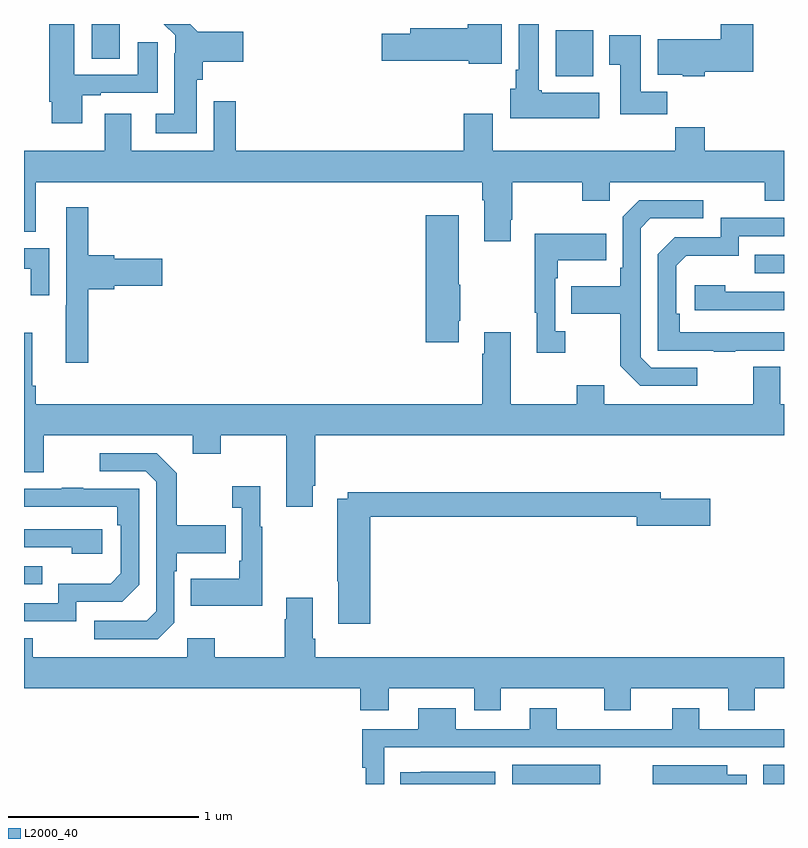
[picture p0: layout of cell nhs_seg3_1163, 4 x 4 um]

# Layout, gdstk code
import gdstk
lib = gdstk.Library(unit=1e-6, precision=1e-09)
def R(c, l, rs):  # rectangles x0, y0, x1, y1
    for r in rs: c.add(gdstk.rectangle(r[:2], r[2:], *l))
def P(c, l, *ps):  # polygons
    for p in ps: c.add(gdstk.Polygon(p, *l))
L2000_40 = (2000, 40)

nhs_seg3_1163 = lib.new_cell('nhs_seg3_1163')
R(nhs_seg3_1163, L2000_40, [(173.57,712.4,174.034,712.501), (174.89,712.4,175,712.501), (171,713.451,171.095,713.547), (174.847,715.089,175,715.185), (173.798,716.126,173.995,716.368), (171.356,716.218,171.505,716.4)])
P(nhs_seg3_1163, L2000_40, [(173.515,716.4),(173.336,716.4),(173.336,716.378),(173.033,716.378),(173.033,716.348),(172.884,716.348),(172.884,716.206),(173.34,716.206),(173.34,716.192),(173.515,716.192)],
  [(174.028,716.038),(173.724,716.038),(173.724,716.052),(173.71,716.052),(173.71,716.4),(173.603,716.4),(173.603,716.158),(173.588,716.158),(173.588,716.058),(173.558,716.058),(173.558,715.904),(174.028,715.904)],
  [(171.91,716.106),(171.941,716.106),(171.941,716.201),(172.153,716.201),(172.153,716.359),(171.915,716.359),(171.874,716.4),(171.735,716.4),(171.795,716.34),(171.795,716.246),(171.791,716.246),(171.791,715.927),(171.693,715.927),(171.693,715.826),(171.91,715.826)],
  [(174.582,716.15),(174.839,716.15),(174.839,716.4),(174.668,716.4),(174.668,716.32),(174.335,716.32),(174.335,716.132),(174.468,716.132),(174.468,716.126),(174.582,716.126)],
  [(171.307,716.025),(171.403,716.025),(171.403,716.037),(171.703,716.037),(171.703,716.305),(171.599,716.305),(171.599,716.133),(171.265,716.133),(171.265,716.4),(171.134,716.4),(171.134,715.99),(171.146,715.99),(171.146,715.878),(171.307,715.878)],
  [(174.386,716.044),(174.247,716.044),(174.247,716.341),(174.08,716.341),(174.08,716.185),(174.137,716.185),(174.137,715.926),(174.386,715.926)],
  [(173.563,715.369),(173.571,715.369),(173.571,715.568),(173.938,715.568),(173.938,715.469),(174.084,715.469),(174.084,715.568),(174.898,715.568),(174.898,715.469),(175,715.469),(175,715.732),(174.584,715.732),(174.584,715.856),(174.427,715.856),(174.427,715.732),(173.467,715.732),(173.467,715.927),(173.315,715.927),(173.315,715.732),(172.115,715.732),(172.115,715.993),(171.999,715.993),(171.999,715.732),(171.565,715.732),(171.565,715.927),(171.425,715.927),(171.425,715.732),(171,715.732),(171,715.306),(171.061,715.306),(171.061,715.568),(173.411,715.568),(173.411,715.472),(173.423,715.472),(173.423,715.257),(173.563,715.257)],
  [(174.544,714.591),(174.3,714.591),(174.246,714.645),(174.246,715.326),(174.297,715.377),(174.574,715.377),(174.574,715.473),(174.237,715.473),(174.15,715.386),(174.15,715.117),(174.138,715.117),(174.138,715.021),(173.881,715.021),(173.881,714.874),(174.138,714.874),(174.138,714.601),(174.243,714.495),(174.544,714.495)],
  [(171.338,715.004),(171.474,715.004),(171.474,715.022),(171.727,715.022),(171.727,715.164),(171.474,715.164),(171.474,715.182),(171.338,715.182),(171.338,715.435),(171.222,715.435),(171.222,714.92),(171.221,714.92),(171.221,714.618),(171.338,714.618)],
  [(173.287,714.838),(173.295,714.838),(173.295,715.027),(173.287,715.027),(173.287,715.393),(173.114,715.393),(173.114,714.726),(173.287,714.726)],
  [(174.743,714.681),(175,714.681),(175,714.777),(174.452,714.777),(174.452,714.874),(174.432,714.874),(174.432,715.128),(174.485,715.181),(174.762,715.181),(174.762,715.284),(175,715.284),(175,715.38),(174.666,715.38),(174.666,715.278),(174.426,715.278),(174.336,715.188),(174.336,714.681),(174.631,714.681),(174.631,714.676),(174.743,714.676)],
  [(173.848,714.782),(173.796,714.782),(173.796,715.061),(173.809,715.061),(173.809,715.157),(174.065,715.157),(174.065,715.297),(173.688,715.297),(173.688,714.881),(173.699,714.881),(173.699,714.669),(173.848,714.669)],
  [(171.132,715.221),(171,715.221),(171,715.113),(171.035,715.113),(171.035,714.972),(171.132,714.972)],
  [(175,714.99),(174.692,714.99),(174.692,715.024),(174.531,715.024),(174.531,714.894),(175,714.894)],
  [(172.519,713.971),(172.532,713.971),(172.532,714.236),(175,714.236),(175,714.4),(174.979,714.4),(174.979,714.595),(174.839,714.595),(174.839,714.4),(174.055,714.4),(174.055,714.499),(173.908,714.499),(173.908,714.4),(173.563,714.4),(173.563,714.778),(173.423,714.778),(173.423,714.665),(173.411,714.665),(173.411,714.4),(171.062,714.4),(171.062,714.496),(171.044,714.496),(171.044,714.775),(171,714.775),(171,714.042),(171.103,714.042),(171.103,714.236),(171.887,714.236),(171.887,714.137),(172.035,714.137),(172.035,714.236),(172.379,714.236),(172.379,713.859),(172.519,713.859)],
  [(171.792,713.25),(171.792,713.519),(171.805,713.519),(171.805,713.615),(172.061,713.615),(172.061,713.763),(171.805,713.763),(171.805,714.035),(171.699,714.141),(171.399,714.141),(171.399,714.045),(171.642,714.045),(171.696,713.991),(171.696,713.31),(171.645,713.259),(171.369,713.259),(171.369,713.163),(171.705,713.163)],
  [(172.255,713.755),(172.243,713.755),(172.243,713.968),(172.095,713.968),(172.095,713.855),(172.146,713.855),(172.146,713.575),(172.134,713.575),(172.134,713.479),(171.877,713.479),(171.877,713.339),(172.255,713.339)],
  [(171.276,713.358),(171.516,713.358),(171.606,713.448),(171.606,713.955),(171.311,713.955),(171.311,713.96),(171.199,713.96),(171.199,713.955),(171,713.955),(171,713.859),(171.49,713.859),(171.49,713.762),(171.51,713.762),(171.51,713.508),(171.457,713.455),(171.18,713.455),(171.18,713.352),(171,713.352),(171,713.256),(171.276,713.256)],
  [(172.823,713.806),(174.224,713.806),(174.224,713.759),(174.613,713.759),(174.613,713.901),(174.352,713.901),(174.352,713.935),(172.704,713.935),(172.704,713.902),(172.648,713.902),(172.648,713.467),(172.655,713.467),(172.655,713.244),(172.823,713.244)],
  [(171.412,713.742),(171,713.742),(171,713.646),(171.251,713.646),(171.251,713.612),(171.412,713.612)],
  [(172.921,712.904),(173.369,712.904),(173.369,712.787),(173.509,712.787),(173.509,712.904),(174.053,712.904),(174.053,712.787),(174.193,712.787),(174.193,712.904),(174.707,712.904),(174.707,712.787),(174.847,712.787),(174.847,712.904),(175,712.904),(175,713.068),(172.532,713.068),(172.532,713.164),(172.519,713.164),(172.519,713.38),(172.379,713.38),(172.379,713.267),(172.372,713.267),(172.372,713.068),(172.005,713.068),(172.005,713.167),(171.858,713.167),(171.858,713.068),(171.045,713.068),(171.045,713.167),(171,713.167),(171,712.904),(172.769,712.904),(172.769,712.787),(172.921,712.787)],
  [(172.896,712.593),(175,712.593),(175,712.689),(174.553,712.689),(174.553,712.798),(174.413,712.798),(174.413,712.689),(173.803,712.689),(173.803,712.798),(173.663,712.798),(173.663,712.689),(173.272,712.689),(173.272,712.798),(173.075,712.798),(173.075,712.689),(172.78,712.689),(172.78,712.486),(172.799,712.486),(172.799,712.4),(172.896,712.4)],
  [(174.805,712.45),(174.7,712.45),(174.7,712.498),(174.308,712.498),(174.308,712.4),(174.805,712.4)],
  [(173.479,712.464),(173.089,712.464),(173.089,712.463),(172.981,712.463),(172.981,712.4),(173.479,712.4)])

lib.write_gds('nhs_seg3_1163.gds')
